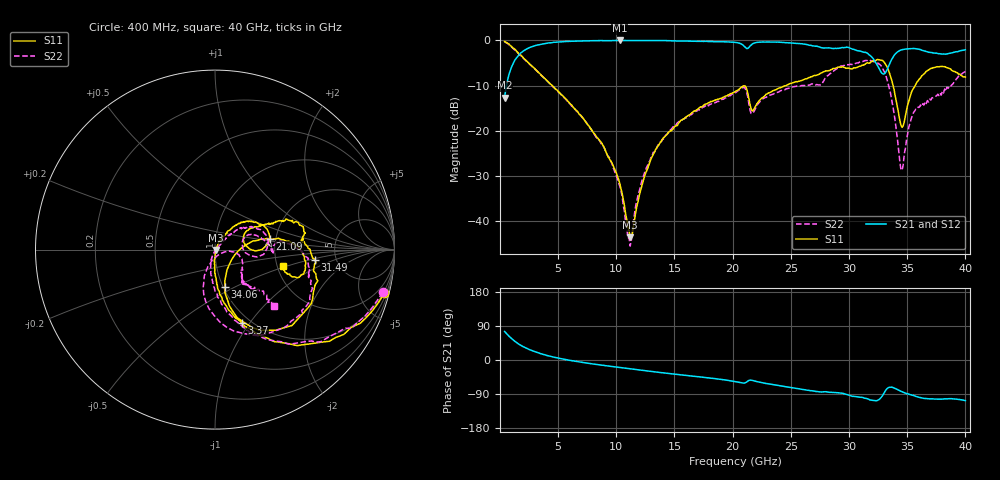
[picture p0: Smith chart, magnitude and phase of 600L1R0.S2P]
!  American Technical Ceramics  Date:  6/18/2004
!  One Norden Lane
!  Huntington Station,  NY.  11746-2102
!  Tel:  (631) 622-4700  Fax:  (631) 622-4748
!  Part Number  600L1R0  Mounting Orientation: Horizontal
!  Description: Ultra Low ESR Microwave capacitors
!  Application: Coupling, Bypass, Tuning, DC Block
!  Filters, Matching
# GHZ S DB R 50
! Freq  |S11|  S11 Ph  |S21|  S21 Ph  |S12|  S12 Ph  |S22|  S22 Ph
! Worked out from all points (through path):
!   401 points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, 400 MHz to 40 GHz, reference 50 ohm
!   highest |S21| = 0.00 dB at 10.3 GHz (marker M1); lowest = -12.7 dB at 400 MHz (marker M2)
!   group delay of S21, straight-line fit = 10 ps
!   lowest |S11| = -43.6 dB at 11.19 GHz (marker M3), VSWR 1.01, Z = 50.6 - j0.228 ohm
!   |S11| at or under -10 dB: 4.494 GHz to 24.59 GHz (20.1 GHz wide, 138 % of centre); 33.78 GHz to 35.68 GHz (1.903 GHz wide, 5.48 % of centre)
!   |S22| runs from -45.6 to -0.3 dB; largest |S21 - S12| = 0.024
!   S11 on the Smith chart (normalised r, x): 400 MHz: 0.83, -7.80; 3.37 GHz: 0.91, -0.92; 21.09 GHz: 1.86, +0.25; 31.49 GHz: 3.44, -0.55; 34.06 GHz: 1.02, -0.45; 40 GHz: 2.16, -0.48
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0.4  -0.23 -14.5  -12.70 75.2  -12.78 75.2  -0.31 -14.3
1.39  -2.26 -42.3  -3.97 46.8  -3.97 47.1  -2.33 -42.4
3.37  -7.20 -70.0  -0.95 18.1  -0.92 18.3  -7.28 -72.1
7.033  -16.92 -89.2  -0.13 -6.1  -0.07 -6.1  -16.87 -99.1
8.914  -23.49 -93.1  -0.04 -14.6  -0.02 -14.7  -23.64 -109.0
10.3  -31.74 -89.0  0.00 -19.9  -0.01 -20.2  -32.36 -110.6
11.191  -43.64 -20.0  -0.01 -23.2  -0.01 -23.5  -45.62 -21.9
12.28  -31.45 59.8  -0.01 -27.5  -0.01 -27.7  -30.42 42.5
13.666  -23.07 59.7  -0.02 -32.5  0.00 -32.8  -23.12 45.6
20.2  -11.35 34.6  -0.42 -56.7  -0.50 -56.4  -11.67 26.2
21.091  -10.09 11.2  -1.54 -60.0  -1.61 -59.6  -10.76 1.2
21.784  -15.45 21.3  -0.64 -54.5  -0.70 -54.3  -15.95 16.5
26.833  -8.01 23.9  -1.18 -81.1  -1.18 -81.5  -9.61 -2.6
28.615  -6.23 18.0  -1.77 -85.5  -1.81 -86.0  -7.01 1.1
31.486  -5.05 -5.7  -2.70 -101.5  -2.73 -101.4  -4.44 -29.7
32.674  -4.35 -35.8  -6.67 -101.7  -6.67 -101.6  -5.39 -63.0
33.466  -7.15 -68.0  -5.30 -72.1  -5.30 -71.9  -10.63 -100.1
34.06  -13.34 -74.8  -2.77 -76.5  -2.78 -76.4  -19.73 -112.7
34.555  -19.28 -32.0  -2.05 -83.8  -2.07 -83.6  -28.77 -43.4
35.545  -10.61 12.1  -1.78 -93.8  -1.80 -93.5  -15.98 -18.9
36.832  -6.53 0.7  -2.62 -102.3  -2.55 -101.6  -13.65 -44.8
40  -8.13 -13.8  -2.06 -107.3  -1.99 -106.4  -6.87 -43.8
